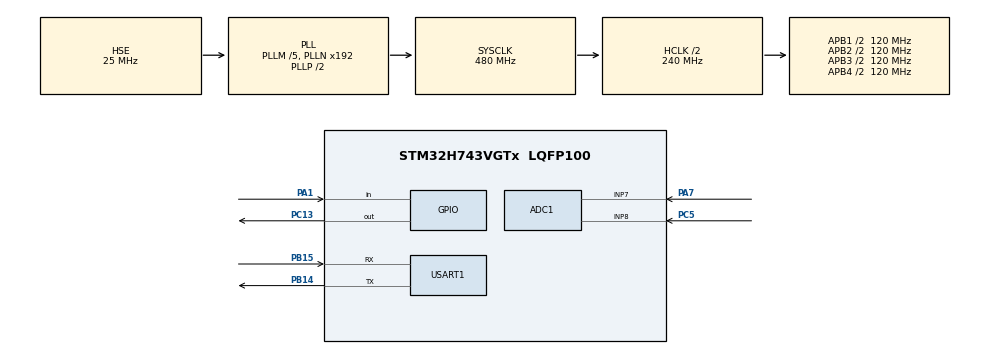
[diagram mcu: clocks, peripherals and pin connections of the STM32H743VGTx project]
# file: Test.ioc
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ADC1.Channel-1\#ChannelRegularConversion=ADC_CHANNEL_7
ADC1.Channel-2\#ChannelRegularConversion=ADC_CHANNEL_8
ADC1.ConversionDataManagement=ADC_CONVERSIONDATA_DMA_CIRCULAR
ADC1.ExternalTrigConv=ADC_EXTERNALTRIG_T3_TRGO
ADC1.NbrOfConversion=2
ADC1.NbrOfConversionFlag=1
ADC1.OffsetNumber-1\#ChannelRegularConversion=ADC_OFFSET_NONE
ADC1.OffsetNumber-2\#ChannelRegularConversion=ADC_OFFSET_NONE
ADC1.OffsetSignedSaturation-1\#ChannelRegularConversion=DISABLE
ADC1.OffsetSignedSaturation-2\#ChannelRegularConversion=DISABLE
ADC1.OversamplingMode=ENABLE
ADC1.Rank-1\#ChannelRegularConversion=1
ADC1.Rank-2\#ChannelRegularConversion=2
ADC1.Ratio=16
ADC1.RightBitShift=ADC_RIGHTBITSHIFT_4
ADC1.SamplingTime-1\#ChannelRegularConversion=ADC_SAMPLETIME_16CYCLES_5
ADC1.SamplingTime-2\#ChannelRegularConversion=ADC_SAMPLETIME_16CYCLES_5
ADC1.master=1
CORTEX_M7.default_mode_Activation=1
Dma.ADC1.0.Direction=DMA_PERIPH_TO_MEMORY
Dma.ADC1.0.EventEnable=DISABLE
Dma.ADC1.0.FIFOMode=DMA_FIFOMODE_DISABLE
Dma.ADC1.0.Instance=DMA1_Stream0
Dma.ADC1.0.MemDataAlignment=DMA_MDATAALIGN_HALFWORD
Dma.ADC1.0.MemInc=DMA_MINC_ENABLE
Dma.ADC1.0.Mode=DMA_CIRCULAR
Dma.ADC1.0.PeriphDataAlignment=DMA_PDATAALIGN_HALFWORD
Dma.ADC1.0.PeriphInc=DMA_PINC_DISABLE
Dma.ADC1.0.Polarity=HAL_DMAMUX_REQ_GEN_RISING
Dma.ADC1.0.Priority=DMA_PRIORITY_HIGH
Dma.ADC1.0.RequestNumber=1
Dma.ADC1.0.SignalID=NONE
Dma.ADC1.0.SyncEnable=DISABLE
Dma.ADC1.0.SyncPolarity=HAL_DMAMUX_SYNC_NO_EVENT
Dma.ADC1.0.SyncRequestNumber=1
Dma.ADC1.0.SyncSignalID=NONE
Dma.Request0=ADC1
Dma.Request1=USART1_TX
Dma.USART1_TX.1.Direction=DMA_MEMORY_TO_PERIPH
Dma.USART1_TX.1.EventEnable=DISABLE
Dma.USART1_TX.1.FIFOMode=DMA_FIFOMODE_DISABLE
Dma.USART1_TX.1.Instance=DMA1_Stream1
Dma.USART1_TX.1.MemDataAlignment=DMA_MDATAALIGN_BYTE
Dma.USART1_TX.1.MemInc=DMA_MINC_ENABLE
Dma.USART1_TX.1.Mode=DMA_NORMAL
Dma.USART1_TX.1.PeriphDataAlignment=DMA_PDATAALIGN_BYTE
Dma.USART1_TX.1.PeriphInc=DMA_PINC_DISABLE
Dma.USART1_TX.1.Polarity=HAL_DMAMUX_REQ_GEN_RISING
Dma.USART1_TX.1.Priority=DMA_PRIORITY_MEDIUM
Dma.USART1_TX.1.RequestNumber=1
Dma.USART1_TX.1.SignalID=NONE
Dma.USART1_TX.1.SyncEnable=DISABLE
Dma.USART1_TX.1.SyncPolarity=HAL_DMAMUX_SYNC_NO_EVENT
Dma.USART1_TX.1.SyncRequestNumber=1
Dma.USART1_TX.1.SyncSignalID=NONE
Mcu.Family=STM32H7
Mcu.Name=STM32H743VGTx
Mcu.Package=LQFP100
NVIC.DMA1_Stream0_IRQn=true\:0\:0\:false\:false\:true\:false\:true\:true
NVIC.DMA1_Stream1_IRQn=true\:0\:0\:false\:false\:true\:false\:true\:true
NVIC.PriorityGroup=NVIC_PRIORITYGROUP_4
NVIC.USART1_IRQn=true\:0\:0\:false\:false\:true\:true\:true\:true
PA1.Signal=GPIO_Input
PA13\ (JTMS/SWDIO).Mode=Serial_Wire
PA13\ (JTMS/SWDIO).Signal=DEBUG_JTMS-SWDIO
PA14\ (JTCK/SWCLK).Mode=Serial_Wire
PA14\ (JTCK/SWCLK).Signal=DEBUG_JTCK-SWCLK
PA7.Signal=ADCx_INP7
PB14.Mode=Asynchronous
PB14.Signal=USART1_TX
PB15.Mode=Asynchronous
PB15.Signal=USART1_RX
PC13.Signal=GPIO_Output
PC5.Signal=ADCx_INP8
PH0-OSC_IN\ (PH0).Mode=HSE-External-Oscillator
PH0-OSC_IN\ (PH0).Signal=RCC_OSC_IN
PH1-OSC_OUT\ (PH1).Mode=HSE-External-Oscillator
PH1-OSC_OUT\ (PH1).Signal=RCC_OSC_OUT
ProjectManager.HeapSize=0x200
ProjectManager.StackSize=0x400
ProjectManager.TargetToolchain=MDK-ARM V5
RCC.ADCFreq_Value=30000000
RCC.APB1Freq_Value=120000000
RCC.APB2Freq_Value=120000000
RCC.APB3Freq_Value=120000000
RCC.APB4Freq_Value=120000000
RCC.CortexFreq_Value=480000000
RCC.D1PPRE=RCC_APB3_DIV2
RCC.D2PPRE1=RCC_APB1_DIV2
RCC.D2PPRE2=RCC_APB2_DIV2
RCC.D3PPRE=RCC_APB4_DIV2
RCC.DIVM1=5
RCC.DIVM2=2
RCC.DIVN1=192
RCC.DIVN2=12
RCC.DIVP2=5
RCC.HCLKFreq_Value=240000000
RCC.HPRE=RCC_HCLK_DIV2
RCC.PLL2FRACN=0
RCC.PLL3FRACN=0
RCC.PLLFRACN=0
RCC.PLLSourceVirtual=RCC_PLLSOURCE_HSE
RCC.SYSCLKFreq_VALUE=480000000
RCC.SYSCLKSource=RCC_SYSCLKSOURCE_PLLCLK
RCC.USBFreq_Value=480000000
SH.ADCx_INP7.0=ADC1_INP7,IN7-Single-Ended
SH.ADCx_INP8.0=ADC1_INP8,IN8-Single-Ended
TIM3.AutoReloadPreload=TIM_AUTORELOAD_PRELOAD_ENABLE
TIM3.Period=999
TIM3.Prescaler=239
TIM3.TIM_MasterOutputTrigger=TIM_TRGO_UPDATE
TIM3.TIM_MasterSlaveMode=TIM_MASTERSLAVEMODE_DISABLE
USART1.VirtualMode-Asynchronous=VM_ASYNC
VP_MEMORYMAP_VS_MEMORYMAP.Mode=CurAppReg
VP_TIM3_VS_ClockSourceINT.Mode=Internal
board=custom

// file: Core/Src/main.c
/* USER CODE BEGIN Header */
/**
  ******************************************************************************
  * @file           : main.c
  * @brief          : Main program body
  ******************************************************************************
  * @attention
  *
  * Copyright (c) 2026 STMicroelectronics.
  * All rights reserved.
  *
  * This software is licensed under terms that can be found in the LICENSE file
  * in the root directory of this software component.
  * If no LICENSE file comes with this software, it is provided AS-IS.
  *
  ******************************************************************************
  */
/* USER CODE END Header */
#include "main.h"

/* USER CODE BEGIN Includes */
#include <stdlib.h>
#include <stdio.h>
#include <string.h>
/* USER CODE END Includes */

ADC_HandleTypeDef hadc1;
DMA_HandleTypeDef hdma_adc1;

TIM_HandleTypeDef htim3;

UART_HandleTypeDef huart1;
DMA_HandleTypeDef hdma_usart1_tx;

/* USER CODE BEGIN PV */
#define VERIFY_MODE      2      /* 0 / 1 / 2，见文件头说明 */

#define ADC_CHANNELS     2                          /* 传感器数量 */
#define ADC_BUF_LEN      (1000 * ADC_CHANNELS)      /* 每通道缓冲 1 秒，半满/满各 500 对 */
#define HALF_PAIRS       (ADC_BUF_LEN / 2 / ADC_CHANNELS)   /* 半缓冲里的采样对数 = 500 */
#define ENV_WIN          200    /* 包络滑动平均窗口：1 kHz => 200 ms */
#define PRINT_EVERY      10     /* 每 10 个采样点输出一行 => 100 行/秒 */

static volatile uint8_t block_ready_half = 0;
static volatile uint8_t block_ready_full = 0;

#define ADC_BUFFER_SIZE  ADC_BUF_LEN
uint16_t adc_buffer[ADC_BUFFER_SIZE] __attribute__((section(".RAM_D2")));
//volatile uint8_t dma_half_ready = 0;
//volatile uint8_t dma_full_ready = 0;
/* USER CODE END PV */

void SystemClock_Config(void);
static void MPU_Config(void);
static void MX_GPIO_Init(void);
static void MX_DMA_Init(void);
static void MX_TIM3_Init(void);
static void MX_ADC1_Init(void);
static void MX_USART1_UART_Init(void);
/* USER CODE BEGIN PFP */
static float envelope_update(uint8_t ch, float abs_x);
#if (VERIFY_MODE >= 2)
static float bandpass_20_400(uint8_t ch, float in);
#endif
/* USER CODE END PFP */

/* USER CODE BEGIN 0 */
/* USER CODE BEGIN 0 */
int fputc(int ch, FILE *f) {
    HAL_UART_Transmit(&huart1, (uint8_t*)&ch, 1, 100);
    return ch;
}
/* USER CODE END 0 */

int main(void)
{

  /* MPU Configuration--------------------------------------------------------*/
  MPU_Config();

  /* MCU Configuration--------------------------------------------------------*/

  /* Reset of all peripherals, Initializes the Flash interface and the Systick. */
  HAL_Init();

  /* Configure the system clock */
  SystemClock_Config();

  /* Initialize all configured peripherals */
  MX_GPIO_Init();
  MX_DMA_Init();
  MX_TIM3_Init();
  MX_ADC1_Init();
  MX_USART1_UART_Init();
  /* USER CODE BEGIN 2 */
  HAL_ADC_Start_DMA(&hadc1, (uint32_t *)adc_buffer, ADC_BUF_LEN);
	HAL_TIM_Base_Start(&htim3);
  /* USER CODE END 2 */

  /* Infinite loop */
  /* USER CODE BEGIN WHILE */

  while (1)
  {
    const uint16_t *blk = NULL;

		if (block_ready_half)
		{
			block_ready_half = 0;
			blk = &adc_buffer[0];
		}
		else if (block_ready_full)
		{
			block_ready_full = 0;
			blk = &adc_buffer[ADC_BUF_LEN / 2];
		}

		if (blk != NULL)
		{
			static uint32_t tick = 0;

			for (int i = 0; i < HALF_PAIRS; i++)
			{
				uint16_t raw[ADC_CHANNELS];
				float    f[ADC_CHANNELS];
				float    e[ADC_CHANNELS];

				for (int ch = 0; ch < ADC_CHANNELS; ch++)
				{
					raw[ch] = blk[i * ADC_CHANNELS + ch];
					float x = (float)raw[ch] - 32768.0f;   /* 16 位中点 1.65 V 对应 32768 */
					float y = x;

	#if (VERIFY_MODE >= 2)
					y = bandpass_20_400(ch, x);
	#endif
					f[ch] = y;
					e[ch] = envelope_update(ch, fabsf(y));
				}

				if (++tick >= PRINT_EVERY)
				{
					tick = 0;
	#if (VERIFY_MODE == 0)
					printf("%u,%u\r\n", (unsigned)raw[0], (unsigned)raw[1]);
	#elif (VERIFY_MODE == 1)
					printf("%u,%u,%d,%d\r\n",
					       (unsigned)raw[0], (unsigned)raw[1], (int)e[0], (int)e[1]);
	#else
					printf("%u,%u,%d,%d,%d,%d\r\n",
					       (unsigned)raw[0], (unsigned)raw[1],
					       (int)f[0], (int)f[1], (int)e[0], (int)e[1]);
	#endif
				}
			}
		}
    /* USER CODE END WHILE */

  }
}

void SystemClock_Config(void)
{
  RCC_OscInitTypeDef RCC_OscInitStruct = {0};
  RCC_ClkInitTypeDef RCC_ClkInitStruct = {0};

  /** Supply configuration update enable
  */
  HAL_PWREx_ConfigSupply(PWR_LDO_SUPPLY);

  /** Configure the main internal regulator output voltage
  */
  __HAL_PWR_VOLTAGESCALING_CONFIG(PWR_REGULATOR_VOLTAGE_SCALE0);

  while(!__HAL_PWR_GET_FLAG(PWR_FLAG_VOSRDY)) {}

  /** Initializes the RCC Oscillators according to the specified parameters
  * in the RCC_OscInitTypeDef structure.
  */
  RCC_OscInitStruct.OscillatorType = RCC_OSCILLATORTYPE_HSE;
  RCC_OscInitStruct.HSEState = RCC_HSE_ON;
  RCC_OscInitStruct.PLL.PLLState = RCC_PLL_ON;
  RCC_OscInitStruct.PLL.PLLSource = RCC_PLLSOURCE_HSE;
  RCC_OscInitStruct.PLL.PLLM = 5;
  RCC_OscInitStruct.PLL.PLLN = 192;
  RCC_OscInitStruct.PLL.PLLP = 2;
  RCC_OscInitStruct.PLL.PLLQ = 2;
  RCC_OscInitStruct.PLL.PLLR = 2;
  RCC_OscInitStruct.PLL.PLLRGE = RCC_PLL1VCIRANGE_2;
  RCC_OscInitStruct.PLL.PLLVCOSEL = RCC_PLL1VCOWIDE;
  RCC_OscInitStruct.PLL.PLLFRACN = 0;
  if (HAL_RCC_OscConfig(&RCC_OscInitStruct) != HAL_OK)
  {
    Error_Handler();
  }

  /** Initializes the CPU, AHB and APB buses clocks
  */
  RCC_ClkInitStruct.ClockType = RCC_CLOCKTYPE_HCLK|RCC_CLOCKTYPE_SYSCLK
                              |RCC_CLOCKTYPE_PCLK1|RCC_CLOCKTYPE_PCLK2
                              |RCC_CLOCKTYPE_D3PCLK1|RCC_CLOCKTYPE_D1PCLK1;
  RCC_ClkInitStruct.SYSCLKSource = RCC_SYSCLKSOURCE_PLLCLK;
  RCC_ClkInitStruct.SYSCLKDivider = RCC_SYSCLK_DIV1;
  RCC_ClkInitStruct.AHBCLKDivider = RCC_HCLK_DIV2;
  RCC_ClkInitStruct.APB3CLKDivider = RCC_APB3_DIV2;
  RCC_ClkInitStruct.APB1CLKDivider = RCC_APB1_DIV2;
  RCC_ClkInitStruct.APB2CLKDivider = RCC_APB2_DIV2;
  RCC_ClkInitStruct.APB4CLKDivider = RCC_APB4_DIV2;

  if (HAL_RCC_ClockConfig(&RCC_ClkInitStruct, FLASH_LATENCY_4) != HAL_OK)
  {
    Error_Handler();
  }
}

static void MX_ADC1_Init(void)
{

  ADC_MultiModeTypeDef multimode = {0};
  ADC_ChannelConfTypeDef sConfig = {0};

  /** Common config
  */
  hadc1.Instance = ADC1;
  hadc1.Init.ClockPrescaler = ADC_CLOCK_ASYNC_DIV1;
  hadc1.Init.Resolution = ADC_RESOLUTION_16B;
  hadc1.Init.ScanConvMode = ADC_SCAN_ENABLE;
  hadc1.Init.EOCSelection = ADC_EOC_SINGLE_CONV;
  hadc1.Init.LowPowerAutoWait = DISABLE;
  hadc1.Init.ContinuousConvMode = DISABLE;
  hadc1.Init.NbrOfConversion = 2;
  hadc1.Init.DiscontinuousConvMode = DISABLE;
  hadc1.Init.ExternalTrigConv = ADC_EXTERNALTRIG_T3_TRGO;
  hadc1.Init.ExternalTrigConvEdge = ADC_EXTERNALTRIGCONVEDGE_RISING;
  hadc1.Init.ConversionDataManagement = ADC_CONVERSIONDATA_DMA_CIRCULAR;
  hadc1.Init.Overrun = ADC_OVR_DATA_PRESERVED;
  hadc1.Init.LeftBitShift = ADC_LEFTBITSHIFT_NONE;
  hadc1.Init.OversamplingMode = ENABLE;
  hadc1.Init.Oversampling.Ratio = 16;
  hadc1.Init.Oversampling.RightBitShift = ADC_RIGHTBITSHIFT_4;
  hadc1.Init.Oversampling.TriggeredMode = ADC_TRIGGEREDMODE_SINGLE_TRIGGER;
  hadc1.Init.Oversampling.OversamplingStopReset = ADC_REGOVERSAMPLING_CONTINUED_MODE;
  if (HAL_ADC_Init(&hadc1) != HAL_OK)
  {
    Error_Handler();
  }

  /** Configure the ADC multi-mode
  */
  multimode.Mode = ADC_MODE_INDEPENDENT;
  if (HAL_ADCEx_MultiModeConfigChannel(&hadc1, &multimode) != HAL_OK)
  {
    Error_Handler();
  }

  /** Configure Regular Channel
  */
  sConfig.Channel = ADC_CHANNEL_7;
  sConfig.Rank = ADC_REGULAR_RANK_1;
  sConfig.SamplingTime = ADC_SAMPLETIME_16CYCLES_5;
  sConfig.SingleDiff = ADC_SINGLE_ENDED;
  sConfig.OffsetNumber = ADC_OFFSET_NONE;
  sConfig.Offset = 0;
  sConfig.OffsetSignedSaturation = DISABLE;
  if (HAL_ADC_ConfigChannel(&hadc1, &sConfig) != HAL_OK)
  {
    Error_Handler();
  }

  /** Configure Regular Channel
  */
  sConfig.Channel = ADC_CHANNEL_8;
  sConfig.Rank = ADC_REGULAR_RANK_2;
  if (HAL_ADC_ConfigChannel(&hadc1, &sConfig) != HAL_OK)
  {
    Error_Handler();
  }

}

static void MX_TIM3_Init(void)
{

  TIM_ClockConfigTypeDef sClockSourceConfig = {0};
  TIM_MasterConfigTypeDef sMasterConfig = {0};

  htim3.Instance = TIM3;
  htim3.Init.Prescaler = 239;
  htim3.Init.CounterMode = TIM_COUNTERMODE_UP;
  htim3.Init.Period = 999;
  htim3.Init.ClockDivision = TIM_CLOCKDIVISION_DIV1;
  htim3.Init.AutoReloadPreload = TIM_AUTORELOAD_PRELOAD_ENABLE;
  if (HAL_TIM_Base_Init(&htim3) != HAL_OK)
  {
    Error_Handler();
  }
  sClockSourceConfig.ClockSource = TIM_CLOCKSOURCE_INTERNAL;
  if (HAL_TIM_ConfigClockSource(&htim3, &sClockSourceConfig) != HAL_OK)
  {
    Error_Handler();
  }
  sMasterConfig.MasterOutputTrigger = TIM_TRGO_UPDATE;
  sMasterConfig.MasterSlaveMode = TIM_MASTERSLAVEMODE_DISABLE;
  if (HAL_TIMEx_MasterConfigSynchronization(&htim3, &sMasterConfig) != HAL_OK)
  {
    Error_Handler();
  }

}

static void MX_USART1_UART_Init(void)
{

  huart1.Instance = USART1;
  huart1.Init.BaudRate = 115200;
  huart1.Init.WordLength = UART_WORDLENGTH_8B;
  huart1.Init.StopBits = UART_STOPBITS_1;
  huart1.Init.Parity = UART_PARITY_NONE;
  huart1.Init.Mode = UART_MODE_TX_RX;
  huart1.Init.HwFlowCtl = UART_HWCONTROL_NONE;
  huart1.Init.OverSampling = UART_OVERSAMPLING_16;
  huart1.Init.OneBitSampling = UART_ONE_BIT_SAMPLE_DISABLE;
  huart1.Init.ClockPrescaler = UART_PRESCALER_DIV1;
  huart1.AdvancedInit.AdvFeatureInit = UART_ADVFEATURE_NO_INIT;
  if (HAL_UART_Init(&huart1) != HAL_OK)
  {
    Error_Handler();
  }
  if (HAL_UARTEx_SetTxFifoThreshold(&huart1, UART_TXFIFO_THRESHOLD_1_8) != HAL_OK)
  {
    Error_Handler();
  }
  if (HAL_UARTEx_SetRxFifoThreshold(&huart1, UART_RXFIFO_THRESHOLD_1_8) != HAL_OK)
  {
    Error_Handler();
  }
  if (HAL_UARTEx_DisableFifoMode(&huart1) != HAL_OK)
  {
    Error_Handler();
  }

}

static void MX_DMA_Init(void)
{

  /* DMA controller clock enable */
  __HAL_RCC_DMA1_CLK_ENABLE();

  /* DMA interrupt init */
  /* DMA1_Stream0_IRQn interrupt configuration */
  HAL_NVIC_SetPriority(DMA1_Stream0_IRQn, 0, 0);
  HAL_NVIC_EnableIRQ(DMA1_Stream0_IRQn);
  /* DMA1_Stream1_IRQn interrupt configuration */
  HAL_NVIC_SetPriority(DMA1_Stream1_IRQn, 0, 0);
  HAL_NVIC_EnableIRQ(DMA1_Stream1_IRQn);

}

static void MX_GPIO_Init(void)
{
  GPIO_InitTypeDef GPIO_InitStruct = {0};

  /* GPIO Ports Clock Enable */
  __HAL_RCC_GPIOC_CLK_ENABLE();
  __HAL_RCC_GPIOH_CLK_ENABLE();
  __HAL_RCC_GPIOA_CLK_ENABLE();
  __HAL_RCC_GPIOB_CLK_ENABLE();

  /*Configure GPIO pin Output Level */
  HAL_GPIO_WritePin(GPIOC, GPIO_PIN_13, GPIO_PIN_RESET);

  /*Configure GPIO pin : PC13 */
  GPIO_InitStruct.Pin = GPIO_PIN_13;
  GPIO_InitStruct.Mode = GPIO_MODE_OUTPUT_PP;
  GPIO_InitStruct.Pull = GPIO_NOPULL;
  GPIO_InitStruct.Speed = GPIO_SPEED_FREQ_LOW;
  HAL_GPIO_Init(GPIOC, &GPIO_InitStruct);

  /*Configure GPIO pin : PA1 */
  GPIO_InitStruct.Pin = GPIO_PIN_1;
  GPIO_InitStruct.Mode = GPIO_MODE_INPUT;
  GPIO_InitStruct.Pull = GPIO_NOPULL;
  HAL_GPIO_Init(GPIOA, &GPIO_InitStruct);

}

/* USER CODE BEGIN 4 */
/*---- 包络：整流 + 滑动平均 ------------------------------------------------
 * 与厂家 demo 的 getEnvelop() 同一思路，窗口改成 200 点（1 kHz => 200 ms）。
 * 注意：开机前 200 个采样点内 sum 没填满，包络读数会偏低，属正常现象。
 *------------------------------------------------------------------*/
static float envelope_update(uint8_t ch, float abs_x)
{
  static float    ring[ADC_CHANNELS][ENV_WIN];
  static uint16_t idx[ADC_CHANNELS];
  static float    sum[ADC_CHANNELS];

  sum[ch]           -= ring[ch][idx[ch]];
  ring[ch][idx[ch]]  = abs_x;
  sum[ch]           += abs_x;

  if (++idx[ch] >= ENV_WIN)
  {
    idx[ch] = 0;
  }
  return sum[ch] / (float)ENV_WIN;
}

#if (VERIFY_MODE >= 2)
/*---- 8 阶巴特沃斯带通 20–400 Hz（fs = 1000 Hz）----------------------------
 * 系数用双线性变换 + 原型极点映射算出，已做数值验证：
 *     20 Hz    -> -3.01 dB        400 Hz -> -3.01 dB
 *     10 Hz    -> -24.7 dB        470 Hz -> -43.6 dB
 *     0 / 500 Hz -> 完全抑制      最大极点半径 0.9545（稳定）
 * 结构：Direct Form II 级联，状态为 w[n-1] / w[n-2]。
 *------------------------------------------------------------------*/
static float bandpass_20_400(uint8_t ch, float in)
{
  static const float b0[4] = { 0.36276887f,  1.00000000f,  1.00000000f,  1.00000000f };
  static const float b1[4] = {-0.72553775f,  2.00000000f, -2.00000000f,  2.00000000f };
  static const float b2[4] = { 0.36276887f,  1.00000000f,  1.00000000f,  1.00000000f };
  static const float a1[4] = {-1.89580569f,  1.32515519f, -1.77191351f,  1.02413961f };
  static const float a2[4] = { 0.91104422f,  0.64193395f,  0.78704319f,  0.28608416f };
  static float w1[ADC_CHANNELS][4], w2[ADC_CHANNELS][4];

  float x = in;

  for (int s = 0; s < 4; s++)
  {
    float w = x - a1[s] * w1[ch][s] - a2[s] * w2[ch][s];
    float y = b0[s] * w + b1[s] * w1[ch][s] + b2[s] * w2[ch][s];

    w2[ch][s] = w1[ch][s];
    w1[ch][s] = w;
    x     = y;
  }
  return x;
}
#endif

void HAL_ADC_ConvHalfCpltCallback(ADC_HandleTypeDef *hadc)
{
  if (hadc->Instance == ADC1)
  {
    block_ready_half = 1;
  }
}

void HAL_ADC_ConvCpltCallback(ADC_HandleTypeDef *hadc)
{
  if (hadc->Instance == ADC1)
  {
    block_ready_full = 1;
  }
}
/* USER CODE END 4 */

 /* MPU Configuration */

void MPU_Config(void)
{
  MPU_Region_InitTypeDef MPU_InitStruct = {0};

  /* Disables the MPU */
  HAL_MPU_Disable();

  /** Initializes and configures the Region and the memory to be protected
  */
  MPU_InitStruct.Enable = MPU_REGION_ENABLE;
  MPU_InitStruct.Number = MPU_REGION_NUMBER0;
  MPU_InitStruct.BaseAddress = 0x0;
  MPU_InitStruct.Size = MPU_REGION_SIZE_4GB;
  MPU_InitStruct.SubRegionDisable = 0x87;
  MPU_InitStruct.TypeExtField = MPU_TEX_LEVEL0;
  MPU_InitStruct.AccessPermission = MPU_REGION_NO_ACCESS;
  MPU_InitStruct.DisableExec = MPU_INSTRUCTION_ACCESS_DISABLE;
  MPU_InitStruct.IsShareable = MPU_ACCESS_SHAREABLE;
  MPU_InitStruct.IsCacheable = MPU_ACCESS_NOT_CACHEABLE;
  MPU_InitStruct.IsBufferable = MPU_ACCESS_NOT_BUFFERABLE;

  HAL_MPU_ConfigRegion(&MPU_InitStruct);
  /* Enables the MPU */
  HAL_MPU_Enable(MPU_PRIVILEGED_DEFAULT);

}

void Error_Handler(void)
{
  __disable_irq();
  while (1)
  {
  }
}
